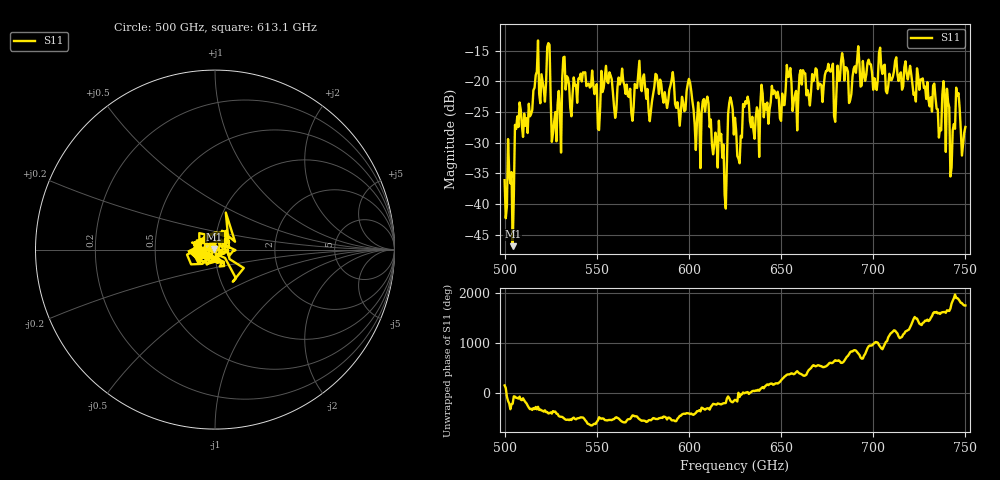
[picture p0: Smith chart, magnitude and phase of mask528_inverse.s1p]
!Created with skrf (http://scikit-rf.org).
# GHz S MA R 50.0
!freq magS11 angS11
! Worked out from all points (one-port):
!   401 points, 500 GHz to 750 GHz, reference 50 ohm
!   lowest |S11| = -46.8 dB at 504.4 GHz (marker M1), VSWR 1.01, Z = 49.7 + j0.312 ohm
!   |S11| at or under -10 dB: start of sweep to end of sweep
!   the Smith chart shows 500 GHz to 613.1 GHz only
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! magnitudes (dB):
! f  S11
! 500 GHz  -36.1
! 504.4 GHz  -46.8
! 506.9 GHz  -25.7
! 513.8 GHz  -25.7
! 516.9 GHz  -19.0
! 523.8 GHz  -13.8
! 526.9 GHz  -26.6
! 531.2 GHz  -19.5
! 562.5 GHz  -20.5
! 579.4 GHz  -24.8
! 590.6 GHz  -19.8
! 593.8 GHz  -23.4
! 600 GHz  -19.6
! 605 GHz  -23.4
! 609.4 GHz  -23.2
! 619.4 GHz  -38.5
! 622.5 GHz  -22.6
! 625 GHz  -25.9
! 656.2 GHz  -24.8
! 683.8 GHz  -16.7
! 687.5 GHz  -23.1
! 691.2 GHz  -16.6
! 718.8 GHz  -19.7
! 735.6 GHz  -29.2
! 739.4 GHz  -31.5
! 743.1 GHz  -28.0
! 745.6 GHz  -22.4
! 750 GHz  -27.4
